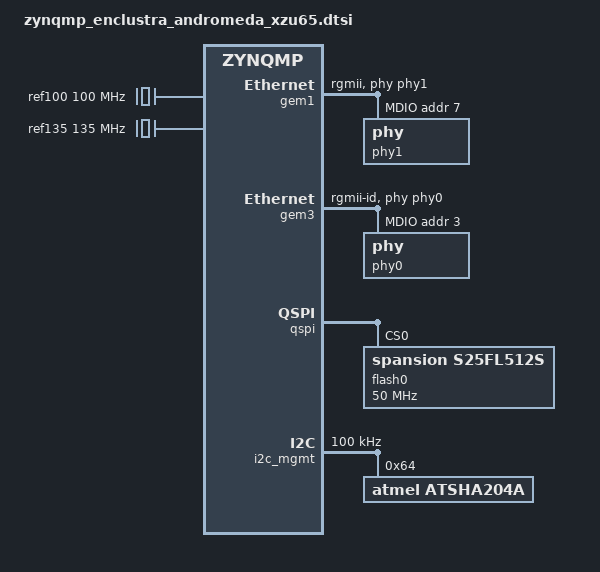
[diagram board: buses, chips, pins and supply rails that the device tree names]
/ {
	aliases {
		ethernet0 = &gem1;
		ethernet1 = &gem3;
		i2c0 = &i2c_mgmt;
		i2c1 = &i2c_user;
		serial0 = &uart0;
		spi0 = &qspi;
	};
};

&gem1 {
	/delete-property/ local-mac-address;
	// mode=rgmii disables additional 2ns RX and TX clock delay
	phy-mode = "rgmii";
	phy-handle = <&phy1>;
	mdio {
		// KSZ9131
		phy1: phy@7 {
			reg = <7>;

			// 0 ns TX clock delay
			txc-skew-psec = <0>;
			txen-skew-psec = <0>;

			txd0-skew-psec = <0>;
			txd1-skew-psec = <0>;
			txd2-skew-psec = <0>;
			txd3-skew-psec = <0>;

			// -0.29 ns RX clock delay
			rxc-skew-psec = <(-700)>;
			rxdv-skew-psec = <0>;

			rxd0-skew-psec = <0>;
			rxd1-skew-psec = <0>;
			rxd2-skew-psec = <0>;
			rxd3-skew-psec = <0>;
		};
	};
};

&gem3 {
	/delete-property/ local-mac-address;
	// mode=rgmii-id enables additional 2ns RX and TX clock delay
	phy-mode = "rgmii-id";
	phy-handle = <&phy0>;
	mdio {
		// KSZ9131
		phy0: phy@3 {
			reg = <3>;

			// 2 ns TX clock delay
			txc-skew-psec = <0>;
			txen-skew-psec = <0>;

			txd0-skew-psec = <0>;
			txd1-skew-psec = <0>;
			txd2-skew-psec = <0>;
			txd3-skew-psec = <0>;

			// 2 ns RX clock delay
			rxc-skew-psec = <0>;
			rxdv-skew-psec = <0>;

			rxd0-skew-psec = <0>;
			rxd1-skew-psec = <0>;
			rxd2-skew-psec = <0>;
			rxd3-skew-psec = <0>;
		};
	};
};

&qspi {
	#address-cells = <1>;
	#size-cells = <0>;
	is-dual = <1>;
	num-cs = <2>;
	flash0: flash@0 {
		reg = <0x0>;
		compatible = "spansion,s25fl512s", "jedec,spi-nor";
		parallel-memories = /bits/ 64 <0x4000000 0x4000000>; /* 128MB */
		spi-rx-bus-width = <0x4>;
		spi-tx-bus-width = <0x4>;
		spi-max-frequency = <50000000>;
		#address-cells = <1>;
		#size-cells = <1>;
	};
};

&psgtr {
	clocks = <&ref100>, <&ref135>;
	clock-names = "ref2", "ref3";
};

&amba {
	ref100: ref100M {
		compatible = "fixed-clock";
		#clock-cells = <0>;
		clock-frequency = <100000000>;
	};
	ref135: ref135M {
		compatible = "fixed-clock";
		#clock-cells = <0>;
		clock-frequency = <135000000>;
	};
	i2c_mgmt: i2c@ff020000 {
		status = "okay";
		clock-frequency = <100000>;
		atsha204a@64 {
			compatible = "atmel,atsha204a", "atmel,atsha204-i2c";
			reg = <0x64>;
		};
	};
	i2c_user: i2c@ff030000 {
		clock-frequency = <100000>;
	};
};
